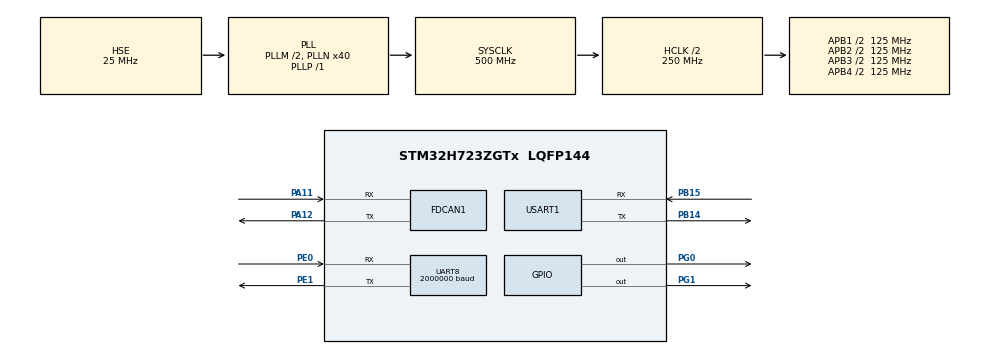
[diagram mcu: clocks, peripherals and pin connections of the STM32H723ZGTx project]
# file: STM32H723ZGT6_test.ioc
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CORTEX_M7.default_mode_Activation=1
Dma.Request0=UART8_RX
Dma.Request1=UART8_TX
Dma.UART8_RX.0.Direction=DMA_PERIPH_TO_MEMORY
Dma.UART8_RX.0.EventEnable=DISABLE
Dma.UART8_RX.0.FIFOMode=DMA_FIFOMODE_DISABLE
Dma.UART8_RX.0.Instance=DMA1_Stream0
Dma.UART8_RX.0.MemDataAlignment=DMA_MDATAALIGN_BYTE
Dma.UART8_RX.0.MemInc=DMA_MINC_ENABLE
Dma.UART8_RX.0.Mode=DMA_NORMAL
Dma.UART8_RX.0.PeriphDataAlignment=DMA_PDATAALIGN_BYTE
Dma.UART8_RX.0.PeriphInc=DMA_PINC_DISABLE
Dma.UART8_RX.0.Polarity=HAL_DMAMUX_REQ_GEN_RISING
Dma.UART8_RX.0.Priority=DMA_PRIORITY_LOW
Dma.UART8_RX.0.RequestNumber=1
Dma.UART8_RX.0.SignalID=NONE
Dma.UART8_RX.0.SyncEnable=DISABLE
Dma.UART8_RX.0.SyncPolarity=HAL_DMAMUX_SYNC_NO_EVENT
Dma.UART8_RX.0.SyncRequestNumber=1
Dma.UART8_RX.0.SyncSignalID=NONE
Dma.UART8_TX.1.Direction=DMA_MEMORY_TO_PERIPH
Dma.UART8_TX.1.EventEnable=DISABLE
Dma.UART8_TX.1.FIFOMode=DMA_FIFOMODE_DISABLE
Dma.UART8_TX.1.Instance=DMA1_Stream1
Dma.UART8_TX.1.MemDataAlignment=DMA_MDATAALIGN_BYTE
Dma.UART8_TX.1.MemInc=DMA_MINC_ENABLE
Dma.UART8_TX.1.Mode=DMA_NORMAL
Dma.UART8_TX.1.PeriphDataAlignment=DMA_PDATAALIGN_BYTE
Dma.UART8_TX.1.PeriphInc=DMA_PINC_DISABLE
Dma.UART8_TX.1.Polarity=HAL_DMAMUX_REQ_GEN_RISING
Dma.UART8_TX.1.Priority=DMA_PRIORITY_LOW
Dma.UART8_TX.1.RequestNumber=1
Dma.UART8_TX.1.SignalID=NONE
Dma.UART8_TX.1.SyncEnable=DISABLE
Dma.UART8_TX.1.SyncPolarity=HAL_DMAMUX_SYNC_NO_EVENT
Dma.UART8_TX.1.SyncRequestNumber=1
Dma.UART8_TX.1.SyncSignalID=NONE
FDCAN1.CalculateBaudRateNominal=1000000
FDCAN1.CalculateTimeBitNominal=1000
FDCAN1.CalculateTimeQuantumNominal=200.0
FDCAN1.Mode=FDCAN_MODE_NORMAL
FDCAN1.NominalPrescaler=25
FDCAN1.NominalTimeSeg1=2
FDCAN1.NominalTimeSeg2=2
FDCAN1.RxFifo0ElmtsNbr=3
FDCAN1.StdFiltersNbr=1
FDCAN1.TxFifoQueueElmtsNbr=3
FREERTOS.Tasks01=defaultTask,24,128,StartDefaultTask,Default,NULL,Dynamic,NULL,NULL;Motor_task,40,256,Motor_control,Default,NULL,Dynamic,NULL,NULL;LQR_control_Task,32,128,LQR_control,Default,NULL,Dynamic,NULL,NULL
FREERTOS.configMAX_TASK_NAME_LEN=20
FREERTOS.configUSE_MALLOC_FAILED_HOOK=1
Mcu.Family=STM32H7
Mcu.Name=STM32H723ZGTx
Mcu.Package=LQFP144
NVIC.DMA1_Stream0_IRQn=true\:5\:0\:false\:false\:true\:true\:false\:true\:true
NVIC.DMA1_Stream1_IRQn=true\:5\:0\:false\:false\:true\:true\:false\:true\:true
NVIC.PriorityGroup=NVIC_PRIORITYGROUP_4
NVIC.TIM7_IRQn=true\:15\:0\:false\:false\:true\:false\:false\:true\:true
NVIC.TimeBase=TIM7_IRQn
NVIC.TimeBaseIP=TIM7
NVIC.UART8_IRQn=true\:5\:0\:false\:false\:true\:true\:true\:true\:true
PA11.Mode=FDCAN_Activate
PA11.Signal=FDCAN1_RX
PA12.Mode=FDCAN_Activate
PA12.Signal=FDCAN1_TX
PA13(JTMS/SWDIO).Mode=Serial_Wire
PA13(JTMS/SWDIO).Signal=DEBUG_JTMS-SWDIO
PA14(JTCK/SWCLK).Mode=Serial_Wire
PA14(JTCK/SWCLK).Signal=DEBUG_JTCK-SWCLK
PB14.Mode=Asynchronous
PB14.Signal=USART1_TX
PB15.Mode=Asynchronous
PB15.Signal=USART1_RX
PE0.Mode=Asynchronous
PE0.Signal=UART8_RX
PE1.Mode=Asynchronous
PE1.Signal=UART8_TX
PG0.PinState=GPIO_PIN_SET
PG0.Signal=GPIO_Output
PG1.Signal=GPIO_Output
PH0-OSC_IN.Mode=HSE-External-Oscillator
PH0-OSC_IN.Signal=RCC_OSC_IN
PH1-OSC_OUT.Mode=HSE-External-Oscillator
PH1-OSC_OUT.Signal=RCC_OSC_OUT
ProjectManager.HeapSize=0x200
ProjectManager.StackSize=0x400
ProjectManager.TargetToolchain=MDK-ARM V5.32
RCC.ADCFreq_Value=50390625
RCC.APB1Freq_Value=125000000
RCC.APB2Freq_Value=125000000
RCC.APB3Freq_Value=125000000
RCC.APB4Freq_Value=125000000
RCC.CortexFreq_Value=500000000
RCC.D1PPRE=RCC_APB3_DIV2
RCC.D2PPRE1=RCC_APB1_DIV2
RCC.D2PPRE2=RCC_APB2_DIV2
RCC.D3PPRE=RCC_APB4_DIV2
RCC.DIVM1=2
RCC.DIVN1=40
RCC.DIVP1=1
RCC.DIVQ1=4
RCC.HCLKFreq_Value=250000000
RCC.HPRE=RCC_HCLK_DIV2
RCC.PLLFRACN=0
RCC.PLLSourceVirtual=RCC_PLLSOURCE_HSE
RCC.SYSCLKFreq_VALUE=500000000
RCC.SYSCLKSource=RCC_SYSCLKSOURCE_PLLCLK
RCC.USBFreq_Value=125000000
UART8.BaudRate=2000000
USART1.VirtualMode-Asynchronous=VM_ASYNC
VP_FREERTOS_VS_CMSIS_V2.Mode=CMSIS_V2
VP_MEMORYMAP_VS_MEMORYMAP.Mode=CurAppReg
VP_SYS_VS_tim7.Mode=TIM7
board=custom

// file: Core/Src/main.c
/* USER CODE BEGIN Header */
/**
  ******************************************************************************
  * @file           : main.c
  * @brief          : Main program body
  ******************************************************************************
  * @attention
  *
  * Copyright (c) 2026 STMicroelectronics.
  * All rights reserved.
  *
  * This software is licensed under terms that can be found in the LICENSE file
  * in the root directory of this software component.
  * If no LICENSE file comes with this software, it is provided AS-IS.
  *
  ******************************************************************************
  */
/* USER CODE END Header */
#include "main.h"
#include "cmsis_os.h"
#include "dma.h"
#include "fdcan.h"
#include "memorymap.h"
#include "usart.h"
#include "gpio.h"

/* USER CODE BEGIN Includes */
#include <stdio.h>
#include <string.h>
#include "m2006_simple.h"
/* USER CODE END Includes */

/* USER CODE BEGIN PV */

char tx_buf[164] = "Hello STM32 UART!\r\n";
uint8_t rx_buf[10];
volatile HAL_StatusTypeDef tx_status;

uint8_t can_tx_data[8] = {
    0x11, 0x22, 0x33, 0x44, 0x55, 0x66, 0x77, 0x88
};

uint8_t can_rx_data[8] = {0};
FDCAN_RxHeaderTypeDef can_rx_header;

/* 0：未完成；1：通过；2：收到但内容不一致 */
volatile uint8_t can_test_result = 0;

M2006Simple_Feedback motor_feedback;
volatile HAL_StatusTypeDef motor_rx_status;
volatile HAL_StatusTypeDef motor_tx_status;
volatile uint32_t motor_request = 0; /* 1=尝试使能一次；2=停止 */
volatile uint8_t motor_enable_ok = 0;
volatile float motor_target_rpm = 0.0f;

extern volatile uint32_t can_raw_rx_count;
extern volatile uint32_t can_last_rx_id;

/* USER CODE END PV */

void SystemClock_Config(void);
static void MPU_Config(void);
void MX_FREERTOS_Init(void);

int main(void)
{

  /* MPU Configuration--------------------------------------------------------*/
  MPU_Config();

  /* MCU Configuration--------------------------------------------------------*/

  /* Reset of all peripherals, Initializes the Flash interface and the Systick. */
  HAL_Init();

  /* Configure the system clock */
  SystemClock_Config();

  /* Initialize all configured peripherals */
  MX_GPIO_Init();
  MX_DMA_Init();
  MX_USART1_UART_Init();
  MX_FDCAN1_Init();
  MX_UART8_Init();
  /* USER CODE BEGIN 2 */

// 先全部塞在这里，后面再分。
//FDCAN_HandleTypeDef  hfdcan1

//	CAN_Init(&hfdcan1);

//	if (CAN_SendData(&hfdcan1, can_tx_data, 0x123) != 0)
//	{
////		Error_Handler();
////	}
	if (M2006Simple_Init(&hfdcan1) != HAL_OK)
	{
		Error_Handler();
	}

//   uint32_t control_tick = HAL_GetTick();
//	static uint8_t started = 0;
//
  /* USER CODE END 2 */

  /* Init scheduler */
  osKernelInitialize();

  /* Call init function for freertos objects (in cmsis_os2.c) */
  MX_FREERTOS_Init();

  /* Start scheduler */
  osKernelStart();

  /* We should never get here as control is now taken by the scheduler */

  /* Infinite loop */
  /* USER CODE BEGIN WHILE */
  while (1)
  {

//	motor_rx_status = M2006_Poll();
//	M2006_ReadFeedback(&motor_feedback);
//
//
//	if (!started && M2006_IsOnline())
//    {
//        if (M2006_Enable())          /* 在线才使能 */
//        {
//            started = 1;
//        }
//    }

//    if (started)
//    {
//        M2006_Set_I(I);            /* 原始值 300 = 0.3A，小电流试 */
//    }

//	sprintf(tx_buf, "%d, %d\r\n", motor_feedback.CurrentRaw,motor_feedback.Encoder );
//	tx_status = HAL_UART_Transmit(&huart8, (uint8_t *)tx_buf, strlen(tx_buf), 100);
//	uint32_t start_time = HAL_GetTick();

//	/* 等待接收队列中出现一帧 */
//	while (HAL_FDCAN_GetRxFifoFillLevel(
//			   &hfdcan1, FDCAN_RX_FIFO0) == 0U)
//	{
//		if ((uint32_t)(HAL_GetTick() - start_time) >= 100U)
//		{
//			Error_Handler();   // 等了 100 ms 仍然没有收到
//		}
//	}

//	/* 从接收队列取出这一帧 */
//	if (HAL_FDCAN_GetRxMessage(
//			&hfdcan1,
//			FDCAN_RX_FIFO0,
//			&can_rx_header,
//			can_rx_data) != HAL_OK)
//	{
//		Error_Handler();
//	}

//	/* 比较帧类型、ID、长度和数据 */
//	if (can_rx_header.IdType == FDCAN_STANDARD_ID &&
//		can_rx_header.RxFrameType == FDCAN_DATA_FRAME &&
//		can_rx_header.Identifier == 0x123U &&
//		can_rx_header.DataLength == FDCAN_DLC_BYTES_8 &&
//		memcmp(can_tx_data, can_rx_data, 8) == 0)
//	{
//		can_test_result = 1;
//	}
//	else
//	{
//		can_test_result = 2;
//	}

	  //HAL_UART_Receive(&huart8, rx_buf, 10, 10000);
//	tx_status = HAL_UART_Transmit(&huart8, (uint8_t *)tx_buf, strlen(tx_buf), 100);
//	HAL_Delay(10);

    /* USER CODE END WHILE */

  }
}

void SystemClock_Config(void)
{
  RCC_OscInitTypeDef RCC_OscInitStruct = {0};
  RCC_ClkInitTypeDef RCC_ClkInitStruct = {0};

  /** Supply configuration update enable
  */
  HAL_PWREx_ConfigSupply(PWR_LDO_SUPPLY);

  /** Configure the main internal regulator output voltage
  */
  __HAL_PWR_VOLTAGESCALING_CONFIG(PWR_REGULATOR_VOLTAGE_SCALE0);

  while(!__HAL_PWR_GET_FLAG(PWR_FLAG_VOSRDY)) {}

  /** Initializes the RCC Oscillators according to the specified parameters
  * in the RCC_OscInitTypeDef structure.
  */
  RCC_OscInitStruct.OscillatorType = RCC_OSCILLATORTYPE_HSE;
  RCC_OscInitStruct.HSEState = RCC_HSE_ON;
  RCC_OscInitStruct.PLL.PLLState = RCC_PLL_ON;
  RCC_OscInitStruct.PLL.PLLSource = RCC_PLLSOURCE_HSE;
  RCC_OscInitStruct.PLL.PLLM = 2;
  RCC_OscInitStruct.PLL.PLLN = 40;
  RCC_OscInitStruct.PLL.PLLP = 1;
  RCC_OscInitStruct.PLL.PLLQ = 4;
  RCC_OscInitStruct.PLL.PLLR = 2;
  RCC_OscInitStruct.PLL.PLLRGE = RCC_PLL1VCIRANGE_3;
  RCC_OscInitStruct.PLL.PLLVCOSEL = RCC_PLL1VCOWIDE;
  RCC_OscInitStruct.PLL.PLLFRACN = 0;
  if (HAL_RCC_OscConfig(&RCC_OscInitStruct) != HAL_OK)
  {
    Error_Handler();
  }

  /** Initializes the CPU, AHB and APB buses clocks
  */
  RCC_ClkInitStruct.ClockType = RCC_CLOCKTYPE_HCLK|RCC_CLOCKTYPE_SYSCLK
                              |RCC_CLOCKTYPE_PCLK1|RCC_CLOCKTYPE_PCLK2
                              |RCC_CLOCKTYPE_D3PCLK1|RCC_CLOCKTYPE_D1PCLK1;
  RCC_ClkInitStruct.SYSCLKSource = RCC_SYSCLKSOURCE_PLLCLK;
  RCC_ClkInitStruct.SYSCLKDivider = RCC_SYSCLK_DIV1;
  RCC_ClkInitStruct.AHBCLKDivider = RCC_HCLK_DIV2;
  RCC_ClkInitStruct.APB3CLKDivider = RCC_APB3_DIV2;
  RCC_ClkInitStruct.APB1CLKDivider = RCC_APB1_DIV2;
  RCC_ClkInitStruct.APB2CLKDivider = RCC_APB2_DIV2;
  RCC_ClkInitStruct.APB4CLKDivider = RCC_APB4_DIV2;

  if (HAL_RCC_ClockConfig(&RCC_ClkInitStruct, FLASH_LATENCY_3) != HAL_OK)
  {
    Error_Handler();
  }
}

 /* MPU Configuration */

void MPU_Config(void)
{
  MPU_Region_InitTypeDef MPU_InitStruct = {0};

  /* Disables the MPU */
  HAL_MPU_Disable();

  /** Initializes and configures the Region and the memory to be protected
  */
  MPU_InitStruct.Enable = MPU_REGION_ENABLE;
  MPU_InitStruct.Number = MPU_REGION_NUMBER0;
  MPU_InitStruct.BaseAddress = 0x0;
  MPU_InitStruct.Size = MPU_REGION_SIZE_4GB;
  MPU_InitStruct.SubRegionDisable = 0x87;
  MPU_InitStruct.TypeExtField = MPU_TEX_LEVEL0;
  MPU_InitStruct.AccessPermission = MPU_REGION_NO_ACCESS;
  MPU_InitStruct.DisableExec = MPU_INSTRUCTION_ACCESS_DISABLE;
  MPU_InitStruct.IsShareable = MPU_ACCESS_SHAREABLE;
  MPU_InitStruct.IsCacheable = MPU_ACCESS_NOT_CACHEABLE;
  MPU_InitStruct.IsBufferable = MPU_ACCESS_NOT_BUFFERABLE;

  HAL_MPU_ConfigRegion(&MPU_InitStruct);
  /* Enables the MPU */
  HAL_MPU_Enable(MPU_PRIVILEGED_DEFAULT);

}

void HAL_TIM_PeriodElapsedCallback(TIM_HandleTypeDef *htim)
{
  if (htim->Instance == TIM7) {
    HAL_IncTick();
  }
}

void Error_Handler(void)
{
  __disable_irq();
  while (1)
  {
  }
}

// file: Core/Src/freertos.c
/* USER CODE BEGIN Header */
/**
  ******************************************************************************
  * File Name          : freertos.c
  * Description        : Code for freertos applications
  ******************************************************************************
  * @attention
  *
  * Copyright (c) 2026 STMicroelectronics.
  * All rights reserved.
  *
  * This software is licensed under terms that can be found in the LICENSE file
  * in the root directory of this software component.
  * If no LICENSE file comes with this software, it is provided AS-IS.
  *
  ******************************************************************************
  */
/* USER CODE END Header */

#include "FreeRTOS.h"
#include "task.h"
#include "main.h"
#include "cmsis_os.h"

/* USER CODE BEGIN Includes */
#include <stdio.h>
#include <string.h>
#include "usart.h"
#include "m2006_simple.h"
#include <math.h>
/* USER CODE END Includes */

/* USER CODE BEGIN Variables */

extern char tx_buf[164];
int  my_cnt  = 0;

extern volatile HAL_StatusTypeDef motor_rx_status;
extern volatile HAL_StatusTypeDef motor_tx_status;
extern volatile uint32_t motor_request;
extern volatile uint8_t motor_enable_ok;
extern volatile float motor_target_rpm;

extern volatile uint32_t can_raw_rx_count;
extern volatile uint32_t can_last_rx_id;
uint8_t cmd;

float motor_current =0;
float speed = 0;
float target_position_deg = 0.0f;

//加减速

/* Output-shaft units: degree, degree/second, degree/second^2. */
volatile float trajectory_target_deg = 0.0f;
volatile float trajectory_degree = 0.0f;  /* Passed to the motor task. */
volatile uint8_t trajectory_start = 0;

float trajectory_vmax = 500.0f;
float trajectory_amax = 180.0f;

float trajectory_v_ref = 0.0f;
uint8_t trajectory_busy = 0;

typedef struct
{
    float degree;       /* Output-shaft degrees. */
    float velocity;     /* Output-shaft degrees/second. */
    uint32_t time_ms;
    uint8_t valid;
} TrajectoryReference;

static TrajectoryReference trajectory_ref = {0};

/* For plotting: target ROTOR rpm sent to the speed PI. */
float motor_speed_cmd = 0.0f;

/* USER CODE END Variables */
/* Definitions for defaultTask */
osThreadId_t defaultTaskHandle;
const osThreadAttr_t defaultTask_attributes = {
  .name = "defaultTask",
  .stack_size = 128 * 4,
  .priority = (osPriority_t) osPriorityNormal,
};
/* Definitions for Motor_task */
osThreadId_t Motor_taskHandle;
const osThreadAttr_t Motor_task_attributes = {
  .name = "Motor_task",
  .stack_size = 256 * 4,
  .priority = (osPriority_t) osPriorityHigh,
};
/* Definitions for LQR_control_Task */
osThreadId_t LQR_control_TaskHandle;
const osThreadAttr_t LQR_control_Task_attributes = {
  .name = "LQR_control_Task",
  .stack_size = 128 * 4,
  .priority = (osPriority_t) osPriorityAboveNormal,
};

void StartDefaultTask(void *argument);
void Motor_control(void *argument);
void LQR_control(void *argument);

void MX_FREERTOS_Init(void); /* (MISRA C 2004 rule 8.1) */

/* Hook prototypes */
void vApplicationMallocFailedHook(void);

/* USER CODE BEGIN 5 */
void vApplicationMallocFailedHook(void)
{
   /* vApplicationMallocFailedHook() will only be called if
   configUSE_MALLOC_FAILED_HOOK is set to 1 in FreeRTOSConfig.h. It is a hook
   function that will get called if a call to pvPortMalloc() fails.
   pvPortMalloc() is called internally by the kernel whenever a task, queue,
   timer or semaphore is created. It is also called by various parts of the
   demo application. If heap_1.c or heap_2.c are used, then the size of the
   heap available to pvPortMalloc() is defined by configTOTAL_HEAP_SIZE in
   FreeRTOSConfig.h, and the xPortGetFreeHeapSize() API function can be used
   to query the size of free heap space that remains (although it does not
   provide information on how the remaining heap might be fragmented). */
}
/* USER CODE END 5 */

void MX_FREERTOS_Init(void) {

  /* Create the thread(s) */
  /* creation of defaultTask */
  defaultTaskHandle = osThreadNew(StartDefaultTask, NULL, &defaultTask_attributes);

  /* creation of Motor_task */
  Motor_taskHandle = osThreadNew(Motor_control, NULL, &Motor_task_attributes);

  /* creation of LQR_control_Task */
  LQR_control_TaskHandle = osThreadNew(LQR_control, NULL, &LQR_control_Task_attributes);

}

void StartDefaultTask(void *argument)
{
  /* USER CODE BEGIN StartDefaultTask */
  /* Infinite loop */

	 uint32_t tick = osKernelGetTickCount();

  for(;;)
  {
//	 snprintf(tx_buf, sizeof(tx_buf),
//		 "<rpm,f,t,pos,t,trq,cur>:%d,%.2f,%.2f,%.2f,%.2f,%d,%.3f\r\n",
//        (int)m2006_simple_feedback.rotor_rpm,
//			m2006_speed_filtered, speed,
//		m2006_position_deg,target_position_deg,
//        (int)m2006_simple_feedback.torque_raw,
//        motor_current);

	 snprintf(tx_buf, sizeof(tx_buf),
		 "<rpm,f,t,pos,t,trq,cur>:%d,%.2f,%.2f,%.2f,%.2f,%d,%.3f\r\n",
        (int)m2006_simple_feedback.rotor_rpm,
			m2006_speed_filtered, motor_speed_cmd,
		m2006_position_deg,trajectory_degree,
        (int)m2006_simple_feedback.torque_raw,
        motor_current);

	HAL_UART_Transmit(&huart8, (uint8_t *)tx_buf, strlen(tx_buf),1);

    tick += 1;                    // 下一个绝对时间点
    osDelayUntil(tick);
    //osDelay(10);
  }
  /* USER CODE END StartDefaultTask */
}

void Motor_control(void *argument)
{
  /* USER CODE BEGIN Motor_control */
  /* Infinite loop */

     uint32_t tick = osKernelGetTickCount();
	 m2006_simple_pi.kp=15.0f;
	 m2006_simple_pi.ki = 3.0f;

  for(;;)
  {

	motor_rx_status = M2006Simple_Poll();

	motor_tx_status = M2006Simple_SetSpeedRotorRPM(speed,0.001f,&motor_current);

	//motor_tx_status = M2006Simple_SetPositionDeg(target_position_deg,0.001f);
	//motor_tx_status = M2006Simple_SetPositionDeg(trajectory_degree,0.001f);

//	  TrajectoryReference ref;

//		taskENTER_CRITICAL();
//		ref = trajectory_ref;
//		taskEXIT_CRITICAL();

//		if (ref.valid)
//		{
//			float elapsed_s;
//			float reference_degree;
//			float position_error;
//			float speed_limit = m2006_position_speed_limit;

//			elapsed_s = (HAL_GetTick() - ref.time_ms) * 0.001f;

//			/* Approximate the reference between 50 Hz updates. */
//			if (elapsed_s > 0.020f)
//				elapsed_s = 0.020f;

//			reference_degree = ref.degree + ref.velocity * elapsed_s;

//			position_error = reference_degree - m2006_position_deg;

//			/*
//			 * Output-shaft degrees/second -> rotor rpm: multiply by 6.
//			 * Existing position Kp unit: rotor rpm / output-shaft degree.
//			 */
//			motor_speed_cmd =
//				ref.velocity * 6.0f +
//				m2006_position_kp * position_error;

//			if (motor_speed_cmd > speed_limit)
//				motor_speed_cmd = speed_limit;

//			if (motor_speed_cmd < -speed_limit)
//				motor_speed_cmd = -speed_limit;

//			motor_tx_status = M2006Simple_SetSpeedRotorRPM(
//				motor_speed_cmd, 0.001f, &motor_current);
//		}
//

	tick += 1;
    osDelayUntil(tick);
  }
  /* USER CODE END Motor_control */
}

void LQR_control(void *argument)
{
  /* USER CODE BEGIN LQR_control */
	//uint8_t cmd;
    uint32_t tick = osKernelGetTickCount();
    uint32_t start_ms = 0;

    float q_start = 0.0f;
    float q_end = 0.0f;
    float direction = 1.0f;
    float distance = 0.0f;
    float acceleration = 0.0f;

    float peak_speed = 0.0f;
    float t_acc = 0.0f;
    float t_cruise = 0.0f;
    float t_total = 0.0f;
    float d_acc = 0.0f;

    uint8_t initialized = 0;

  /* Infinite loop */
//  for(;;)
//  {
//	HAL_UART_Receive(&huart8,&cmd,1,0);
//
//	switch (cmd)
//	{
//	  case '0': target_position_deg =   0.0f; break;
//	  case '1': target_position_deg =  100.0f; break;
//	  case '2': target_position_deg =  200.0f; break;
//	  case '3': target_position_deg =  300.0f; break;
//	  default: break;
//	}
//    osDelay(10);
//  }

    for (;;)
    {
//
//		if (HAL_UART_Receive(&huart8, &cmd, 1, 0) == HAL_OK)
//		{
//			if (!trajectory_busy)
//			{
//				uint8_t valid_cmd = 1;

//				switch (cmd)
//				{
//					case '0': trajectory_target_deg =    0.0f; break;
//					case '1': trajectory_target_deg = 1800.0f; break;
//					case '2': trajectory_target_deg = 3600.0f; break;
//					case '3': trajectory_target_deg = 7200.0f; break;
//					default:  valid_cmd = 0; break;
//				}

//				if (valid_cmd)
//					trajectory_start = 1;
//			}
//		}
//
//
//        /* The motor task receives feedback and updates actual position. */
//        if (!initialized && m2006_simple_feedback.rx_count > 0)
//        {
//            trajectory_degree = m2006_position_deg;
//            initialized = 1;
//        }
//        if (initialized)
//        {
//            if (trajectory_start)
//            {
//                trajectory_start = 0;

//                /* First version: accept new targets only when idle. */
//                if (!trajectory_busy &&
//                    trajectory_vmax > 0.0f &&
//                    trajectory_amax > 0.0f)
//                {
//                    q_start = m2006_position_deg;
//                    q_end = trajectory_target_deg;
//                    distance = fabsf(q_end - q_start);
//                    direction = (q_end >= q_start) ? 1.0f : -1.0f;
//                    acceleration = trajectory_amax;

//                    if (distance >=
//                        trajectory_vmax * trajectory_vmax / acceleration)
//                    {
//                        peak_speed = trajectory_vmax;
//                        t_acc = peak_speed / acceleration;
//                        t_cruise =
//                            (distance - peak_speed * peak_speed / acceleration)
//                            / peak_speed;
//                    }
//                    else
//                    {
//                        peak_speed = sqrtf(distance * acceleration);
//                        t_acc = peak_speed / acceleration;
//                        t_cruise = 0.0f;
//                    }

//                    d_acc = 0.5f * acceleration * t_acc * t_acc;
//                    t_total = 2.0f * t_acc + t_cruise;

//                    start_ms = HAL_GetTick();
//                    trajectory_busy = 1;
//
//                }
//            }

//            if (trajectory_busy)
//            {
//                float t = (HAL_GetTick() - start_ms) * 0.001f;
//                float displacement;
//                float velocity;

//                if (t >= t_total)
//                {
//                    trajectory_degree = q_end;
//                    trajectory_v_ref = 0.0f;
//                    trajectory_busy = 0;
//                }
//                else
//                {
//                    if (t < t_acc)
//                    {
//                        velocity = acceleration * t;
//                        displacement = 0.5f * acceleration * t * t;
//                    }
//                    else if (t < t_acc + t_cruise)
//                    {
//                        velocity = peak_speed;
//                        displacement = d_acc + peak_speed * (t - t_acc);
//                    }
//                    else
//                    {
//                        float remaining = t_total - t;

//                        velocity = acceleration * remaining;
//                        displacement =
//                            distance - 0.5f * acceleration *
//                            remaining * remaining;
//                    }

//                    trajectory_degree = q_start + direction * displacement;
//                    trajectory_v_ref = direction * velocity;
//                }
//            }
//
//					taskENTER_CRITICAL();

//					trajectory_ref.degree = trajectory_degree;
//					trajectory_ref.velocity = trajectory_v_ref;
//					trajectory_ref.time_ms = HAL_GetTick();
//					trajectory_ref.valid = 1;

//					taskEXIT_CRITICAL();
//
//
//       }

        tick += 20;       /* 50 Hz, assuming a 1000 Hz kernel tick. */
        osDelayUntil(tick);
    }

  /* USER CODE END LQR_control */
}
